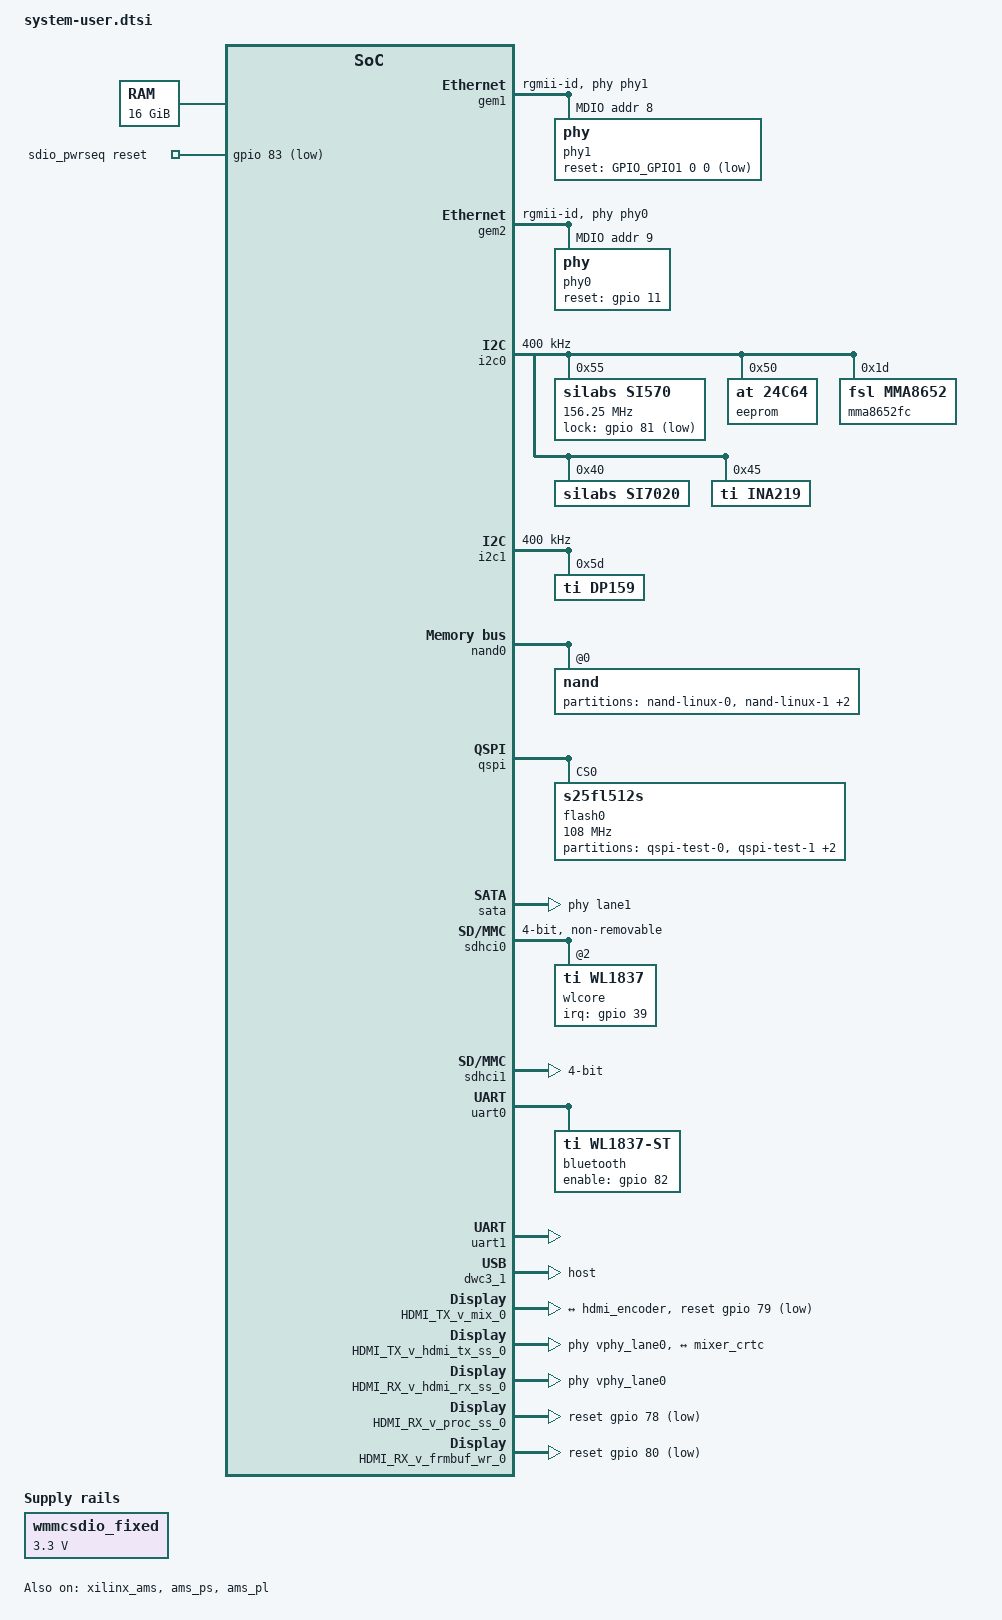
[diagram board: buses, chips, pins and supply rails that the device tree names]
/ {
	aliases {
	    serial0 = "/amba/serial@ff010000";
	    serial1 = "/amba/serial@ff000000";
	    serial2 = "/amba_pl@0/serial@80001000";
	};
        chosen {
                bootargs = "console=ttyPS0,115200 rw earlycon clk_ignore_unused earlyprintk uio_pdrv_genirq.of_id=xlnx,generic-uio cma=1024M cpuidle.off=1 root=/dev/ram0";
                stdout-path = "serial0:115200n8";
        };
        memory {
                reg = <0x0 0x0 0x0 0x7ff00000>, <0x00000008 0x00000000 0x00000001 0x80000000>, <0x00000048 0x00000000 0x00000002 0x00000000>;
        };
	wmmcsdio_fixed: fixedregulator {
		compatible = "regulator-fixed";
		regulator-name = "wmmcsdio_fixed";
		regulator-min-microvolt = <3300000>;
		regulator-max-microvolt = <3300000>;
		regulator-always-on;
		startup-delay-us = <70000>;
		enable-active-high;
	};
	sdio_pwrseq: sdio_pwrseq {
		compatible = "mmc-pwrseq-simple";
		reset-gpios = <&gpio 83 0x1>;
		post-power-on-delay-ms = <1000>;
	};
	xlnx {
		compatible = "xlnx,xlnk-1.0";
	};
	dru_clk: dru_clk {
		#clock-cells = <0>;
		clock-frequency = <100000000>;
		compatible = "fixed-clock";
	};
};
&cpu_opp_table {
	opp00 {
		opp-hz = /bits/ 64 <1334013000>;
	};
};
&xilinx_ams {
	status = "okay";
};
&ams_ps {
	status = "okay";
};
&ams_pl {
	status = "okay";
	xlnx,ext-channels {
		#address-cells = <1>;
		#size-cells = <0>;
		channel@0 {
			reg = <0>;
			xlnx,bipolar;
		};
	};
};
&zynqmp_dp_snd_card0 {
        status = "disabled";
};
&zynqmp_dp_snd_codec0 {
        status = "disabled";
};
&gem1 {
    status = "okay";
    phy-handle = <&phy1>;
    phy-mode = "rgmii-id";
    local-mac-address = [00 0a 35 3a 02 00];

    psu_ethernet_1_mdio: mdio {
        #address-cells = <1>;
        #size-cells = <0>;
        phy1: phy@8 {
            device_type = "ethernet-phy";
            reg = <8>;
            ti,rx-internal-delay = <0x8>;
            ti,tx-internal-delay = <0xa>;
            ti,fifo-depth = <0x1>;
            reset-gpios = <&GPIO_GPIO1 0 0 1>;
        };
    };
};
&gem2 {
    status = "okay";
    phy-handle = <&phy0>;
    phy-mode = "rgmii-id";
    local-mac-address = [00 0a 35 3a 02 01];

    psu_ethernet_2_mdio: mdio {
        #address-cells = <1>;
        #size-cells = <0>;
        phy0: phy@9 {
            device_type = "ethernet-phy";
            reg = <0x9>;
            ti,rx-internal-delay = <0x8>;
            ti,tx-internal-delay = <0xa>;
            ti,fifo-depth = <0x1>;
            reset-gpios = <&gpio 11 0>;
        };
    };
};
&i2c0 {
	clock-frequency = <400000>;
	status = "okay";
	si570: clock-generator@55 {
		#clock-cells = <0>;
		compatible = "silabs,si570";
		reg = <0x55>;
		temperature-stability = <50>;
		factory-fout = <156250000>;
		clock-frequency = <156250000>;
		lock-gpios = <&gpio 81 1>;
	};
	eeprom@50 {
		compatible = "at,24c64";
		reg = <0x50>;
	};
	mma8652fc@1d {
		compatible = "fsl,mma8652";
		reg = <0x1d>;
	};	
	si7020@40 {
		compatible = "silabs,si7020";
		reg = <0x40>;
	};
	ina219@45 {
		compatible = "ti,ina219";
		reg = <0x45>;
		shunt-resistor = <2000>;
	};
};
&i2c1 {
	status = "okay";
	clock-frequency = <400000>;

	dp159: hdmi-retimer@5d {
		status = "okay";
		compatible = "ti,dp159";
		reg = <0x5d>;
		#address-cells = <1>;
		#size-cells = <0>;
		#clock-cells = <0>;
	};
};
&nand0 {
	status = "okay";
	arasan,has-mdma;
	num-cs = <1>;

	nand@0 {
		reg = <0x0>;
		#address-cells = <0x1>;
		#size-cells = <0x1>;
		
		partition@nand-linux-0 { /* test purposes */
			label = "nand-linux-0";
			reg = <0x00000000 0x04000000>;
		};
		partition@nand-linux-1 { /* test purposes */
			label = "nand-linux-1";
			reg = <0x04000000 0x04000000>;
		};
		partition@nand-linux-2 { /* test purposes */
			label = "nand-linux-2";
			reg = <0x08000000 0x04000000>;
		};
		partition@nand-linux-3 { /* test purposes */
			label = "nand-linux-3";
			reg = <0x0C000000 0x04000000>;
		};
	};
};
&qspi {
	is-dual = <0>;
	num-cs = <1>;
	status = "okay";
	
	flash0: flash@0 {
		compatible = "s25fl512s";
		spi-tx-bus-width=<1>;
		spi-rx-bus-width=<4>;
		reg = <0x0>;
		#address-cells = <1>;
		#size-cells = <1>;
		spi-max-frequency = <108000000>;
		
		partition@test-0 { /* test purposes */
			label = "qspi-test-0";
			reg = <0x00000000 0x01000000>;
		};
		partition@test-1 { /* test purposes */
			label = "qspi-test-1";
			reg = <0x01000000 0x01000000>;
		};
		partition@test-2 { /* test purposes */
			label = "qspi-test-2";
			reg = <0x02000000 0x01000000>;
		};
		partition@test-3 { /* test purposes */
			label = "qspi-test-3";
			reg = <0x03000000 0x01000000>;
		};
	};
};
&sata {
	status = "okay";
	phy-names = "sata-phy";
	phys = <&lane1 1 1 1 150000000>;
};
&sdhci0 {
	clock-frequency = <50000000>;
	status = "okay";
	no-1-8-v;
	bus-width = <4>;
	broken-cd;
	xlnx,mio_bank = <1>;
	disable-wp;
	non-removable;
	enable-sdio-wakeup;
	mmc-pwrseq = <&sdio_pwrseq>;
	vqmmc-supply = <&wmmcsdio_fixed>;
	ti,non-removable;
	ti,needs-special-hs-handling;
	cap-power-off-card;
	keep-power-in-suspend;
	
	#address-cells = <1>;
	#size-cells = <0>;
	wlcore: wlcore@2 {
		status = "okay";
		compatible = "ti,wl1837";
		reg = <2>;
		interrupt-parent = <&gpio>;
		interrupts = <39 1>;
	};
};
&sdhci1 {
	clock-frequency = <99999000>;
	status = "okay";
	xlnx,mio_bank = <0x1>;
	no-1-8-v;
	disable-wp;
	bus-width = <4>;
};
&uart0 {
	device_type = "serial";
	port-number = <1>;
	status = "okay";
	u-boot,dm-pre-reloc ;
	/delete-property/ cts-override;
	bluetooth {
		compatible = "ti,wl1837-st";
		enable-gpios = <&gpio 82 0>;
	};
};
&uart1 {
	device_type = "serial";
	port-number = <0>;
	status = "okay";
	u-boot,dm-pre-reloc ;
};
&dwc3_1 {
	status = "okay";
	dr_mode = "host";
};
&DDR4_DDR4_PL {
//	device_type = "memory";
};
&HDMI_TX_v_mix_0 {
        compatible = "xlnx,mixer-4.0", "xlnx,mixer-3.0";
        reset-gpios = <&gpio 79 1>;
        clocks = <&si570>;

        crtc_mixer_port: port@0 {
                reg = <0>;
                mixer_crtc: endpoint {
                        remote-endpoint = <&hdmi_encoder>;
                };
        };
        xx_mix_master: layer_0 {
                xlnx,layer-id = <0>;
                xlnx,layer-max-height = <2160>;
                xlnx,layer-max-width = <3840>;
                xlnx,vformat = "BG24";
        };
        xx_mix_overlay_1: layer_1 {
                xlnx,layer-alpha ;
                xlnx,layer-id = <1>;
                xlnx,layer-max-width = <3840>;
                xlnx,vformat = "YUYV";
        };
        xx_mix_overlay_2: layer_2 {
                xlnx,layer-alpha ;
                xlnx,layer-id = <2>;
                xlnx,layer-max-width = <3840>;
                xlnx,vformat = "YUYV";
        };
        xx_mix_overlay_3: layer_3 {
                xlnx,layer-alpha ;
                xlnx,layer-id = <3>;
                xlnx,layer-max-width = <3840>;
                xlnx,vformat = "UYVY";
        };
        xx_mix_overlay_4: layer_4 {
                xlnx,layer-alpha ;
                xlnx,layer-id = <4>;
                xlnx,layer-max-width = <3840>;
                xlnx,vformat = "AR24";
                xlnx,layer-primary;
        };
        xx_mix_logo: logo {
                xlnx,layer-id = <5>;
                xlnx,logo-height = <64>;
                xlnx,logo-width = <64>;
        };
};
&HDMI_TX_v_hdmi_tx_ss_0 {
        compatible = "xlnx,v-hdmi-tx-ss-3.1";

        clock-names = "s_axi_cpu_aclk", "link_clk", "s_axis_audio_aclk", "video_clk", "s_axis_video_aclk", "txref-clk", "retimer-clk";
        clocks = <&misc_clk_0>, <&misc_clk_1>, <&misc_clk_0>, <&misc_clk_2>, <&misc_clk_3>, <&si570>, <&dp159>;

        phy-names = "hdmi-phy0", "hdmi-phy1", "hdmi-phy2";
        phys = <&vphy_lane0 0 1 1 1>, <&vphy_lane1 0 1 1 1>, <&vphy_lane2 0 1 1 1>;

        xlnx,output-fmt = "rgb";
        xlnx,input-pixels-per-clock = <0x2>;
        xlnx,max-bits-per-component = <0x8>;

        encoder_hdmi_port: port@0 {
                reg = <0>;
                hdmi_encoder: endpoint {
                        remote-endpoint = <&mixer_crtc>;
                };
        };
};
&HDMI_RX_v_hdmi_rx_ss_0 {
        compatible = "xlnx,v-hdmi-rx-ss-3.1";
        phy-names = "hdmi-phy0", "hdmi-phy1", "hdmi-phy2";
        phys = <&vphy_lane0 0 1 1 0>, <&vphy_lane1 0 1 1 0>, <&vphy_lane2 0 1 1 0>;
        xlnx,edid-ram-size = <0x100>;
        xlnx,input-pixels-per-clock = <2>;
        xlnx,max-bits-per-component = <8>;
};
&HDMI_RX_v_proc_ss_0 {
        compatible = "xlnx,v-vpss-scaler-2.2";
        reset-gpios = <&gpio 78 1>;
};
&HDMI_RX_v_frmbuf_wr_0 {
        compatible = "xlnx,axi-frmbuf-wr-v2.1";
        reset-gpios = <&gpio 80 1>;
};
&vid_phy_controller_0 {
        clock-names = "mgtrefclk0_pad_p_in", "mgtrefclk0_pad_n_in", "gtsouthrefclk0_in", "gtsouthrefclk0_odiv2_in", "gtsouthrefclk1_in", "gtsouthrefclk1_odiv2_in", "gtsouthrefclk10_in", "gtsouthrefclk11_in", "vid_phy_tx_axi4s_aclk", "vid_phy_rx_axi4s_aclk", "vid_phy_sb_aclk", "vid_phy_axi4lite_aclk", "drpclk", "dru-clk";
        clocks = <&misc_clk_4>, <&misc_clk_4>, <&misc_clk_4>, <&misc_clk_4>, <&misc_clk_4>, <&misc_clk_4>, <&misc_clk_4>, <&misc_clk_4>, <&misc_clk_2>, <&misc_clk_2>, <&misc_clk_0>, <&misc_clk_0>, <&misc_clk_0>, <&dru_clk>;
        xlnx,use-gt-ch4-hdmi = <0x0>;
};
